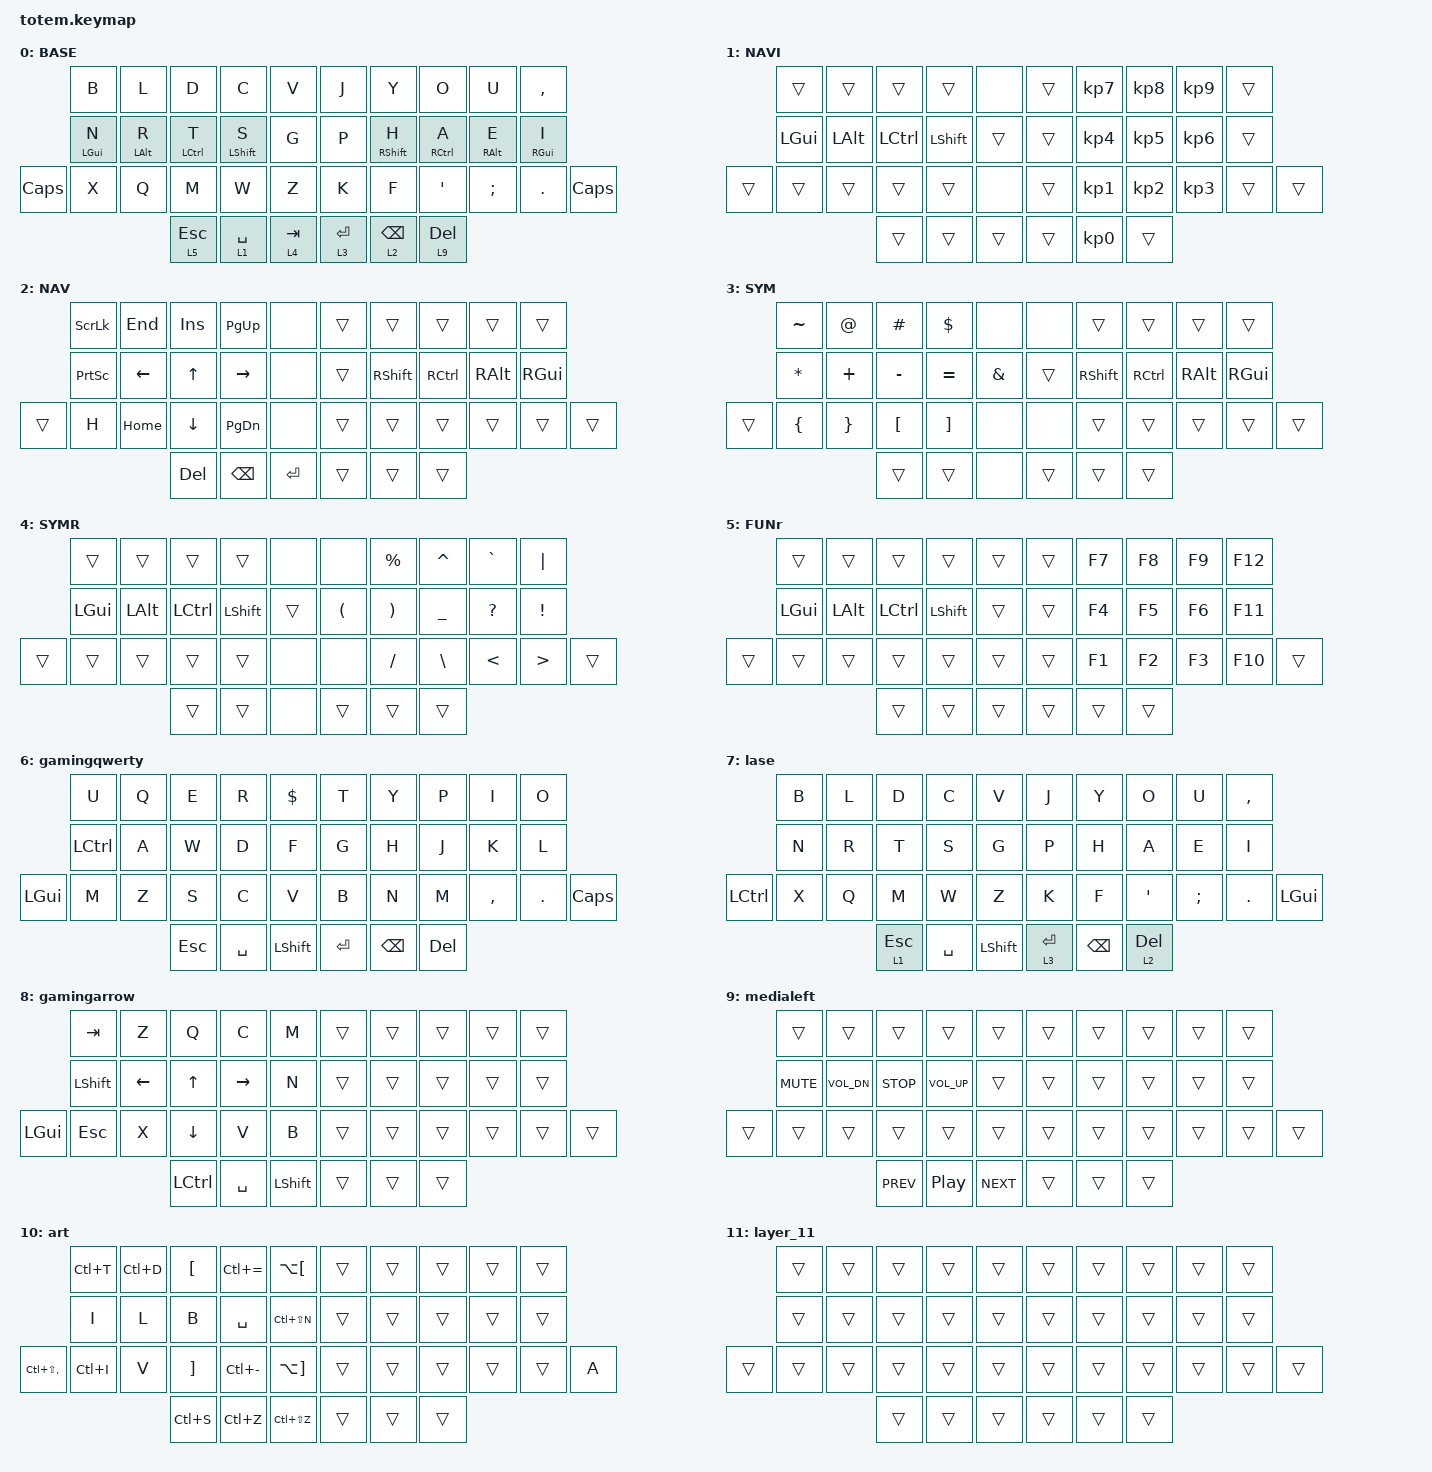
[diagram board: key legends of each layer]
//
//                                                        ▀▀▀▀▀     ▀▀▀▀▀          ▀▀█▀▀
//                                                        ▄▀▀▀▄  ▄  ▄▀▀▀▄  ▄  ▄▀▀▀▄  █  ▄▀▀▀▄
//                                                        █   █  █  █   █  █  █   █  █  █   █
//                                                         ▀▀▀   █   ▀▀▀   █   ▀▀▀   ▀   ▀▀▀
//                                                               █      ▄▄▄█▄▄▄    █   █  
//                                                               ▀      █  █  █     █▄█
//                                                             ▀▀▀▀▀    █  █  █      ▀
//                                                                      ▀  ▀  ▀
//
// ▄▄▄▄▄▄▄▄▄▄▄▄▄▄▄▄▄▄▄▄▄▄▄▄▄▄▄▄▄▄▄▄▄▄▄▄▄▄▄▄▄▄▄▄▄▄▄▄▄▄▄▄▄▄▄▄▄▄▄▄▄▄▄▄▄▄▄▄▄▄▄▄▄▄▄▄▄▄▄▄▄▄▄▄▄▄▄▄▄▄▄▄▄▄▄▄▄▄▄▄▄▄▄▄▄▄▄▄▄▄▄▄▄▄▄▄▄▄▄▄▄▄▄▄▄▄▄▄▄▄▄▄▄▄▄▄▄▄▄▄▄▄▄▄▄▄▄▄▄

#include <behaviors.dtsi>
#include <dt-bindings/zmk/keys.h>

#define BASE 0
#define NAV  1
#define SYM  2
#define ADJ  3
#define TVP1 4
#define TVP2 5

&mt {
    quick-tap-ms = <100>;
    global-quick-tap;
    flavor = "tap-preferred";
    tapping-term-ms = <170>;
};

/ {
    combos {
        compatible = "zmk,combos";

        galgaming {
            bindings = <&tog 7>;
            key-positions = <33 20>;
        };

        qwertgaming {
            bindings = <&tog 6>;
            key-positions = <32 20>;
        };

        arrowgaming {
            bindings = <&tog 8>;
            key-positions = <34 20>;
        };

        ant {
            bindings = <&tog 10>;
            key-positions = <25 20>;
        };
    };

    keymap {
        compatible = "zmk,keymap";

        // ▄▄▄▄▄▄▄▄▄▄▄▄▄▄▄▄▄▄▄▄▄▄▄▄▄▄▄▄▄▄▄▄▄▄▄▄▄▄▄▄▄▄▄▄▄▄▄▄▄▄▄▄▄▄▄▄▄▄▄▄▄▄▄▄▄▄▄▄▄▄▄▄▄▄▄▄▄▄▄▄▄▄▄▄▄▄▄▄▄▄▄▄▄▄▄▄▄▄▄▄▄▄▄▄▄▄▄▄▄▄▄▄▄▄▄▄▄▄▄▄▄▄▄▄▄▄▄▄▄▄▄▄▄▄▄▄▄▄▄▄▄▄▄▄▄▄▄▄▄

        base {
            // ┏━━━━━━━━━━━━━━━━━━━━━━━━━━━━━━━━━━━━━━━┓

            label = "BASE";

            // ┗━━━━━━━━━━━━━━━━━━━━━━━━━━━━━━━━━━━━━━━┛
            //             ┏━━━━━━━━━━━┳━━━━━━━━━━━┳━━━━━━━━━━━┳━━━━━━━━━━━┳━━━━━━━━━━━┓   ┏━━━━━━━━━━━┳━━━━━━━━━━━┳━━━━━━━━━━━┳━━━━━━━━━━━┳━━━━━━━━━━━┓
            //             ┃     Q     ┃     W     ┃     F     ┃     P     ┃     G     ┃   ┃     J     ┃     L     ┃     U     ┃     Y     ┃     ;     ┃
            //             ┣━━━━━━━━━━━╋━━━━━━━━━━━╋━━━━━━━━━━━╋━━━━━━━━━━━╋━━━━━━━━━━━┫   ┣━━━━━━━━━━━╋━━━━━━━━━━━╋━━━━━━━━━━━╋━━━━━━━━━━━╋━━━━━━━━━━━┫
            //             ┃     A     ┃     R     ┃     S     ┃     T     ┃     D     ┃   ┃     H     ┃     N     ┃     E     ┃     I     ┃     O     ┃
            // ┏━━━━━━━━━━━╋━━━━━━━━━━━╋━━━━━━━━━━━╋━━━━━━━━━━━╋━━━━━━━━━━━╋━━━━━━━━━━━┫   ┣━━━━━━━━━━━╋━━━━━━━━━━━╋━━━━━━━━━━━╋━━━━━━━━━━━╋━━━━━━━━━━━╋━━━━━━━━━━━┓
            // ┃     Q     ┃     Z     ┃     X     ┃     C     ┃     V     ┃     B     ┃   ┃     K     ┃     M     ┃     ,     ┃     .     ┃     /     ┃     \     ┃
            // ┗━━━━━━━━━━━┻━━━━━━━━━━━┻━━━━━━━━━━━╋━━━━━━━━━━━╋━━━━━━━━━━━╋━━━━━━━━━━━┫   ┣━━━━━━━━━━━╋━━━━━━━━━━━╋━━━━━━━━━━━╋━━━━━━━━━━━┻━━━━━━━━━━━┻━━━━━━━━━━━┛
            //                                     ┃    DEL    ┃    TAB    ┃    SPC    ┃   ┃   ENTER   ┃           ┃   BSPC    ┃
            //                                     ┗━━━━━━━━━━━┻━━━━━━━━━━━┻━━━━━━━━━━━┛   ┗━━━━━━━━━━━┻━━━━━━━━━━━┻━━━━━━━━━━━┛

            bindings = <
              &kp B           &kp L       &kp D         &kp C        &kp V        &kp J        &kp Y            &kp O         &kp U       &kp COMMA
              &mt LEFT_GUI N  &mt LALT R  &mt LCTRL T   &mt LSHFT S  &kp G        &kp P        &mt RSHFT H      &mt RCTRL A   &mt RALT E  &mt RIGHT_GUI I
&kp CAPSLOCK  &kp X           &kp Q       &kp M         &kp W        &kp Z        &kp K        &kp F            &kp APOS      &kp SEMI    &kp PERIOD       &kp CAPSLOCK
                                          &lt 5 ESCAPE  &lt 1 SPACE  &lt 4 TAB    &lt 3 ENTER  &lt 2 BACKSPACE  &lt 9 DELETE
            >;
        };

        numright {
            // ┏━━━━━━━━━━━━━━━━━━━━━━━━━━━━━━━━━━━━━━━┓

            label = "NAVI";

            // ┗━━━━━━━━━━━━━━━━━━━━━━━━━━━━━━━━━━━━━━━┛
            //             ┏━━━━━━━━━━━┳━━━━━━━━━━━┳━━━━━━━━━━━┳━━━━━━━━━━━┳━━━━━━━━━━━┓   ┏━━━━━━━━━━━┳━━━━━━━━━━━┳━━━━━━━━━━━┳━━━━━━━━━━━┳━━━━━━━━━━━┓
            //             ┃           ┃           ┃     UP    ┃           ┃     {     ┃   ┃     }     ┃     7     ┃     8     ┃     9     ┃     +     ┃
            //             ┣━━━━━━━━━━━╋━━━━━━━━━━━╋━━━━━━━━━━━╋━━━━━━━━━━━╋━━━━━━━━━━━┫   ┣━━━━━━━━━━━╋━━━━━━━━━━━╋━━━━━━━━━━━╋━━━━━━━━━━━╋━━━━━━━━━━━┫
            //             ┃   SHIFT   ┃   LEFT    ┃    DOWN   ┃   RIGHT   ┃     [     ┃   ┃     ]     ┃     4     ┃     5     ┃     6     ┃     -     ┃
            // ┏━━━━━━━━━━━╋━━━━━━━━━━━╋━━━━━━━━━━━╋━━━━━━━━━━━╋━━━━━━━━━━━╋━━━━━━━━━━━┫   ┣━━━━━━━━━━━╋━━━━━━━━━━━╋━━━━━━━━━━━╋━━━━━━━━━━━╋━━━━━━━━━━━╋━━━━━━━━━━━┓
            // ┃           ┃           ┃   P UP    ┃  C LOCK   ┃  P DOWN   ┃     (     ┃   ┃     )     ┃     1     ┃     2     ┃     3     ┃     *     ┃           ┃
            // ┗━━━━━━━━━━━┻━━━━━━━━━━━┻━━━━━━━━━━━╋━━━━━━━━━━━╋━━━━━━━━━━━╋━━━━━━━━━━━┫   ┣━━━━━━━━━━━╋━━━━━━━━━━━╋━━━━━━━━━━━╋━━━━━━━━━━━┻━━━━━━━━━━━┻━━━━━━━━━━━┛
            //                                     ┃           ┃    TAB    ┃    SPC    ┃   ┃    DEL    ┃     0     ┃           ┃
            //                                     ┗━━━━━━━━━━━┻━━━━━━━━━━━┻━━━━━━━━━━━┛   ┗━━━━━━━━━━━┻━━━━━━━━━━━┻━━━━━━━━━━━┛

            bindings = <
        &trans        &trans        &trans     &trans          &none     &trans  &kp KP_N7        &kp KP_N8  &kp KP_N9  &trans
        &kp LEFT_GUI  &kp LEFT_ALT  &kp LCTRL  &kp LEFT_SHIFT  &trans    &trans  &kp KP_N4        &kp KP_N5  &kp KP_N6  &trans
&trans  &trans        &trans        &trans     &trans          &none     &trans  &kp KP_N1        &kp KP_N2  &kp KP_N3  &trans  &trans
                                    &trans     &trans          &trans    &trans  &kp KP_NUMBER_0  &trans
            >;
        };

        navleft {
            label = "NAV";
            bindings = <
        &kp SCROLLLOCK   &kp END   &kp INS         &kp PG_UP      &none        &trans  &trans           &trans     &trans         &trans
        &kp PRINTSCREEN  &kp LEFT  &kp UP_ARROW    &kp RIGHT      &none        &trans  &kp RIGHT_SHIFT  &kp RCTRL  &kp RIGHT_ALT  &kp RIGHT_GUI
&trans  &kp H            &kp HOME  &kp DOWN_ARROW  &kp PG_DN      &none        &trans  &trans           &trans     &trans         &trans         &trans
                                   &kp DELETE      &kp BACKSPACE  &kp ENTER    &trans  &trans           &trans
            >;
        };

        symleft {
            label = "SYM";
            bindings = <
        &kp TILDE       &kp AT           &kp HASH          &kp DLLR           &none            &none   &trans           &trans     &trans         &trans
        &kp ASTERISK    &kp PLUS         &kp MINUS         &kp EQUAL          &kp AMPERSAND    &trans  &kp RIGHT_SHIFT  &kp RCTRL  &kp RIGHT_ALT  &kp RIGHT_GUI
&trans  &kp LEFT_BRACE  &kp RIGHT_BRACE  &kp LEFT_BRACKET  &kp RIGHT_BRACKET  &none            &none   &trans           &trans     &trans         &trans         &trans
                                         &trans            &trans             &none            &trans  &trans           &trans
            >;
        };

        symright {
            // ┏━━━━━━━━━━━━━━━━━━━━━━━━━━━━━━━━━━━━━━━┓

            label = "SYMR";

            // ┗━━━━━━━━━━━━━━━━━━━━━━━━━━━━━━━━━━━━━━━┛
            //             ┏━━━━━━━━━━━┳━━━━━━━━━━━┳━━━━━━━━━━━┳━━━━━━━━━━━┳━━━━━━━━━━━┓   ┏━━━━━━━━━━━┳━━━━━━━━━━━┳━━━━━━━━━━━┳━━━━━━━━━━━┳━━━━━━━━━━━┓
            //             ┃     !     ┃     @     ┃     #     ┃     $     ┃     %     ┃   ┃     ˆ     ┃     &     ┃     Ü     ┃     '     ┃     "     ┃
            //             ┣━━━━━━━━━━━╋━━━━━━━━━━━╋━━━━━━━━━━━╋━━━━━━━━━━━╋━━━━━━━━━━━┫   ┣━━━━━━━━━━━╋━━━━━━━━━━━╋━━━━━━━━━━━╋━━━━━━━━━━━╋━━━━━━━━━━━┫
            //             ┃     Ä     ┃           ┃    SZ     ┃           ┃           ┃   ┃   MUTE    ┃   YEN     ┃   EURO    ┃  POUND    ┃     Ö     ┃
            // ┏━━━━━━━━━━━╋━━━━━━━━━━━╋━━━━━━━━━━━╋━━━━━━━━━━━╋━━━━━━━━━━━╋━━━━━━━━━━━┫   ┣━━━━━━━━━━━╋━━━━━━━━━━━╋━━━━━━━━━━━╋━━━━━━━━━━━╋━━━━━━━━━━━╋━━━━━━━━━━━┓
            // ┃           ┃  EMAIL1   ┃  EMAIL2   ┃           ┃           ┃           ┃   ┃   VOL-    ┃   VOL+    ┃   LAST    ┃   NEXT    ┃     \     ┃           ┃
            // ┗━━━━━━━━━━━┻━━━━━━━━━━━┻━━━━━━━━━━━╋━━━━━━━━━━━╋━━━━━━━━━━━╋━━━━━━━━━━━┫   ┣━━━━━━━━━━━╋━━━━━━━━━━━╋━━━━━━━━━━━╋━━━━━━━━━━━┻━━━━━━━━━━━┻━━━━━━━━━━━┛
            //                                     ┃           ┃    GIF    ┃    ADJ    ┃   ┃           ┃           ┃           ┃
            //                                     ┗━━━━━━━━━━━┻━━━━━━━━━━━┻━━━━━━━━━━━┛   ┗━━━━━━━━━━━┻━━━━━━━━━━━┻━━━━━━━━━━━┛

            bindings = <
        &trans        &trans        &trans     &trans          &none     &none                 &kp PERCENT            &kp CARET      &kp GRAVE      &kp PIPE
        &kp LEFT_GUI  &kp LEFT_ALT  &kp LCTRL  &kp LEFT_SHIFT  &trans    &kp LEFT_PARENTHESIS  &kp RIGHT_PARENTHESIS  &kp UNDER      &kp QUESTION   &kp EXCL
&trans  &trans        &trans        &trans     &trans          &none     &none                 &kp SLASH              &kp BACKSLASH  &kp LESS_THAN  &kp GREATER_THAN  &trans
                                    &trans     &trans          &none     &trans                &trans                 &trans
            >;
        };

        funright {
            // ┏━━━━━━━━━━━━━━━━━━━━━━━━━━━━━━━━━━━━━━━┓

            label = "FUNr";

            // ┗━━━━━━━━━━━━━━━━━━━━━━━━━━━━━━━━━━━━━━━┛
            //             ┏━━━━━━━━━━━┳━━━━━━━━━━━┳━━━━━━━━━━━┳━━━━━━━━━━━┳━━━━━━━━━━━┓   ┏━━━━━━━━━━━┳━━━━━━━━━━━┳━━━━━━━━━━━┳━━━━━━━━━━━┳━━━━━━━━━━━┓
            //             ┃   RESET   ┃ BT CLEAR  ┃  OUT TOG  ┃           ┃           ┃   ┃           ┃    F7     ┃    F8     ┃    F9     ┃    F12    ┃
            //             ┣━━━━━━━━━━━╋━━━━━━━━━━━╋━━━━━━━━━━━╋━━━━━━━━━━━╋━━━━━━━━━━━┫   ┣━━━━━━━━━━━╋━━━━━━━━━━━╋━━━━━━━━━━━╋━━━━━━━━━━━╋━━━━━━━━━━━┫
            //             ┃ BOOTLOAD  ┃ BT NEXT   ┃           ┃           ┃           ┃   ┃           ┃    F4     ┃    F5     ┃    F6     ┃    F11    ┃
            // ┏━━━━━━━━━━━╋━━━━━━━━━━━╋━━━━━━━━━━━╋━━━━━━━━━━━╋━━━━━━━━━━━╋━━━━━━━━━━━┫   ┣━━━━━━━━━━━╋━━━━━━━━━━━╋━━━━━━━━━━━╋━━━━━━━━━━━╋━━━━━━━━━━━╋━━━━━━━━━━━┓
            // ┃           ┃           ┃ BT PREV   ┃           ┃           ┃           ┃   ┃           ┃    F1     ┃    F2     ┃    F3     ┃    F10    ┃           ┃
            // ┗━━━━━━━━━━━┻━━━━━━━━━━━┻━━━━━━━━━━━╋━━━━━━━━━━━╋━━━━━━━━━━━╋━━━━━━━━━━━┫   ┣━━━━━━━━━━━╋━━━━━━━━━━━╋━━━━━━━━━━━╋━━━━━━━━━━━┻━━━━━━━━━━━┻━━━━━━━━━━━┛
            //                                     ┃           ┃           ┃           ┃   ┃           ┃           ┃           ┃
            //                                     ┗━━━━━━━━━━━┻━━━━━━━━━━━┻━━━━━━━━━━━┛   ┗━━━━━━━━━━━┻━━━━━━━━━━━┻━━━━━━━━━━━┛

            bindings = <
        &trans        &trans        &trans            &trans          &trans    &trans  &kp F7  &kp F8  &kp F9  &kp F12
        &kp LEFT_GUI  &kp LEFT_ALT  &kp LEFT_CONTROL  &kp LEFT_SHIFT  &trans    &trans  &kp F4  &kp F5  &kp F6  &kp F11
&trans  &trans        &trans        &trans            &trans          &trans    &trans  &kp F1  &kp F2  &kp F3  &kp F10  &trans
                                    &trans            &trans          &trans    &trans  &trans  &trans
            >;
        };

        gamingqwerty {
            bindings = <
              &kp U      &kp Q  &kp E       &kp R      &kp DOLLAR    &kp T      &kp Y          &kp P       &kp I      &kp O
              &kp LCTRL  &kp A  &kp W       &kp D      &kp F         &kp G      &kp H          &kp J       &kp K      &kp L
&kp LEFT_GUI  &kp M      &kp Z  &kp S       &kp C      &kp V         &kp B      &kp N          &kp M       &kp COMMA  &kp DOT  &kp CAPSLOCK
                                &kp ESCAPE  &kp SPACE  &kp LSHFT     &kp ENTER  &kp BACKSPACE  &kp DELETE
            >;
        };

        gaminggallium {
            label = "lase";
            bindings = <
                  &kp B  &kp L  &kp D         &kp C      &kp V             &kp J        &kp Y          &kp O         &kp U     &kp COMMA
                  &kp N  &kp R  &kp T         &kp S      &kp G             &kp P        &kp H          &kp A         &kp E     &kp I
&kp LEFT_CONTROL  &kp X  &kp Q  &kp M         &kp W      &kp Z             &kp K        &kp F          &kp APOS      &kp SEMI  &kp PERIOD  &kp LEFT_GUI
                                &lt 1 ESCAPE  &kp SPACE  &kp LEFT_SHIFT    &lt 3 ENTER  &kp BACKSPACE  &lt 2 DELETE
            >;
        };

        gamingarrow {
            bindings = <
              &kp TAB    &kp Z           &kp Q           &kp C            &kp M        &trans  &trans  &trans  &trans  &trans
              &kp LSHFT  &kp LEFT_ARROW  &kp UP_ARROW    &kp RIGHT_ARROW  &kp N        &trans  &trans  &trans  &trans  &trans
&kp LEFT_GUI  &kp ESC    &kp X           &kp DOWN_ARROW  &kp V            &kp B        &trans  &trans  &trans  &trans  &trans  &trans
                                         &kp LCTRL       &kp SPACE        &kp LSHFT    &trans  &trans  &trans
            >;
        };

        medialeft {
            bindings = <
        &trans      &trans        &trans      &trans            &trans        &trans  &trans  &trans  &trans  &trans
        &kp C_MUTE  &kp C_VOL_DN  &kp C_STOP  &kp C_VOL_UP      &trans        &trans  &trans  &trans  &trans  &trans
&trans  &trans      &trans        &trans      &trans            &trans        &trans  &trans  &trans  &trans  &trans  &trans
                                  &kp C_PREV  &kp C_PLAY_PAUSE  &kp C_NEXT    &trans  &trans  &trans
            >;
        };

        art {
            bindings = <
                   &kp LC(T)  &kp LC(D)  &kp LEFT_BRACKET   &kp LC(EQUAL)  &kp LA(LEFT_BRACKET)     &trans  &trans  &trans  &trans  &trans
                   &kp I      &kp L      &kp B              &kp SPACE      &kp LC(LS(N))            &trans  &trans  &trans  &trans  &trans
&kp LC(LS(COMMA))  &kp LC(I)  &kp V      &kp RIGHT_BRACKET  &kp LC(MINUS)  &kp LA(RIGHT_BRACKET)    &trans  &trans  &trans  &trans  &trans  &kp A
                                         &kp LC(S)          &kp LC(Z)      &kp LC(LS(Z))            &trans  &trans  &trans
            >;
        };

        layer_11 {
            bindings = <
        &trans  &trans  &trans  &trans  &trans    &trans  &trans  &trans  &trans  &trans
        &trans  &trans  &trans  &trans  &trans    &trans  &trans  &trans  &trans  &trans
&trans  &trans  &trans  &trans  &trans  &trans    &trans  &trans  &trans  &trans  &trans  &trans
                        &trans  &trans  &trans    &trans  &trans  &trans
            >;
        };
    };
};
